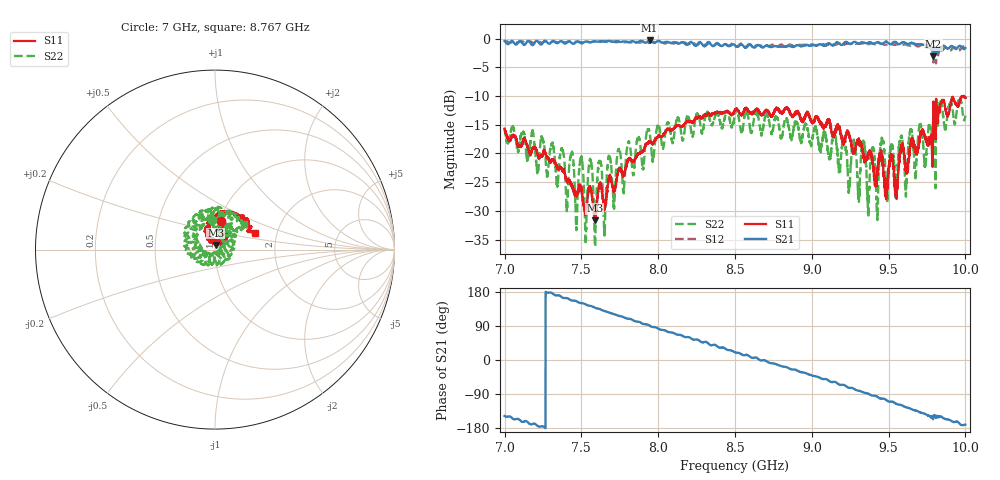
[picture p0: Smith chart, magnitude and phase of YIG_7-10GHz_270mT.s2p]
#  HZ  S  RI  R  50.0
! Rohde & Schwarz ZVL13 2Ports - Version 3.31 - 1303.6509k13 SN: 101088
! Date: 2023-03-06 15:33:32
! Data & Calibration Information:
! Trc4:S11(TOSM) Trc2:S21(TOSM) Trc3:S12(TOSM) Trc5:S22(TOSM)
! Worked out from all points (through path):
!   4000 points, 7 GHz to 10 GHz, reference 50 ohm
!   highest |S21| = -0.34 dB at 7.944 GHz (marker M1); lowest = -3.1 dB at 9.791 GHz (marker M2)
!   group delay of S21, straight-line fit = 357 ps
!   lowest |S11| = -31.7 dB at 7.587 GHz (marker M3), VSWR 1.05, Z = 50.4 + j2.59 ohm
!   |S11| at or under -10 dB: start of sweep to 9.99 GHz; 9.990397 GHz to end of sweep
!   |S22| runs from -36.1 to -10.4 dB; largest |S21 - S12| = 0.14
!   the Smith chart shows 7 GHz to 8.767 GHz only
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7e9  0.0343 0.1603  -0.8045 -0.5075  -0.7635 -0.5478  -0.0148 0.1645
7.374344e9  0.0487 0.0528  -0.9111 0.2408  -0.9124 0.2278  0.1052 0.0341
7.405851e9  0.0391 0.0431  -0.884 0.2631  -0.8944 0.2732  0.0371 -0.00293
7.435859e9  0.0342 0.0414  -0.8448 0.3586  -0.8632 0.352  0.1005 -0.00737
7.467367e9  0.031 0.0321  -0.8477 0.3926  -0.8471 0.4034  0.021 -0.00426
7.500375e9  0.0199 0.0469  -0.7843 0.4543  -0.8008 0.4717  0.0838 -0.0412
7.525131e9  0.0132 0.0265  -0.7903 0.5095  -0.7834 0.5159  0.0215 -0.00721
7.55814e9  0.00516 0.0499  -0.7371 0.5577  -0.7312 0.5749  0.0382 -0.0793
7.586647e9  0.00469 0.0257  -0.7065 0.6296  -0.6998 0.6288  0.00859 -0.0151
7.618905e9  -0.00572 0.054  -0.6609 0.6778  -0.645 0.6732  -0.00354 -0.0858
7.650413e9  -0.00796 0.0334  -0.5964 0.7285  -0.594 0.7294  -0.00812 -0.0175
7.68042e9  -0.0141 0.0593  -0.5484 0.7775  -0.5464 0.7582  -0.0437 -0.0837
7.711928e9  -0.0228 0.0415  -0.4868 0.805  -0.476 0.8052  -0.023 -0.0269
7.742686e9  -0.024 0.0685  -0.4194 0.8413  -0.4341 0.8315  -0.0808 -0.073
7.943736e9  -0.0325 0.1214  -0.0144 0.962  -0.0346 0.9216  -0.1496 -0.0236
8e9  -0.037 0.1377  0.1134 0.9465  0.0798 0.913  -0.1722 0.0401
8.500375e9  0.1501 0.1852  0.8203 0.2979  0.81 0.3008  0.0386 0.2183
9e9  0.191 0.0165  0.6647 -0.5671  0.6769 -0.5757  0.1279 -0.0168
9.500375e9  0.0737 0.0031  -0.3007 -0.8563  -0.2659 -0.8565  -0.0657 0.0229
9.790698e9  -0.0178 0.2555  -0.6131 -0.3393  -0.5344 -0.3119  -0.2496 0.0374
9.837959e9  0.2032 0.1754  -0.6875 -0.4132  -0.6628 -0.424  -0.1069 0.2664
1e10  0.2767 0.1271  -0.8138 -0.1376  -0.7961 -0.1054  0.1226 0.1748
